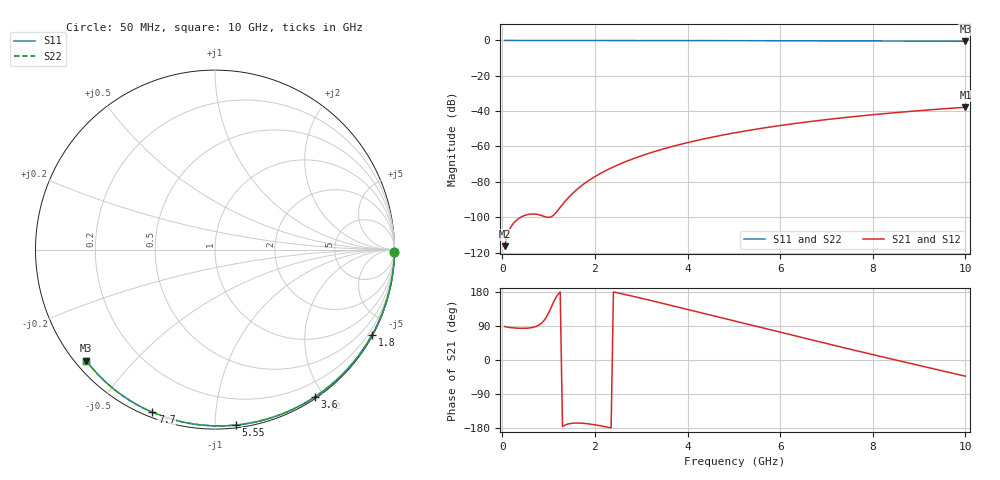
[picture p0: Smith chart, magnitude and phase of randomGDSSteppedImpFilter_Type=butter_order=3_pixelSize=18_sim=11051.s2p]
! freq	dB(S11)	phase(S11)	dB(S12)	phase(S12)
!  dB(S21)	phase(S21)	dB(S22)	phase(S22)
!S-par simulation data
#  GHz  S  DB  R 50
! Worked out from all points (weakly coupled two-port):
!   200 points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, 50 MHz to 10 GHz, reference 50 ohm
!   highest |S21| = -37.81 dB at 10 GHz (marker M1); lowest = -116.4 dB at 50 MHz (marker M2)
!   lowest |S11| = -0.5 dB at 10 GHz (marker M3), VSWR 37.01, Z = 1.54 - j18.6 ohm
!   |S11| at or under -10 dB: nowhere
!   |S22| runs from -0.5 to 0.0 dB; largest |S21 - S12| = 0
!   S11 on the Smith chart (normalised r, x): 50 MHz: open; 1.8 GHz: 0.03, -3.93; 3.6 GHz: 0.02, -1.89; 5.55 GHz: 0.02, -1.13; 7.7 GHz: 0.02, -0.69; 10 GHz: 0.03, -0.37
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0.05  -0.00 -0.8  -116.41 88.3  -116.41 88.3  -0.00 -0.8
0.45  -0.01 -7.2  -99.35 83.6  -99.35 83.6  -0.01 -7.2
0.9  -0.02 -14.4  -99.53 104.0  -99.53 104.0  -0.02 -14.4
1.75  -0.04 -27.8  -81.40 -167.1  -81.40 -167.1  -0.04 -27.8
1.8  -0.04 -28.6  -80.45 -167.7  -80.45 -167.7  -0.04 -28.6
1.85  -0.04 -29.3  -79.55 -168.4  -79.55 -168.4  -0.04 -29.3
2.05  -0.04 -32.4  -76.27 -172.1  -76.27 -172.1  -0.04 -32.4
2.25  -0.05 -35.5  -73.44 -176.7  -73.44 -176.7  -0.05 -35.5
2.55  -0.05 -40.1  -69.81 175.6  -69.81 175.6  -0.05 -40.1
2.95  -0.06 -46.1  -65.76 164.5  -65.76 164.5  -0.06 -46.1
3.4  -0.07 -52.8  -61.97 151.3  -61.97 151.3  -0.07 -52.8
3.6  -0.07 -55.8  -60.49 145.4  -60.49 145.4  -0.07 -55.8
3.9  -0.08 -60.1  -58.44 136.4  -58.44 136.4  -0.08 -60.1
4.3  -0.09 -65.9  -56.01 124.3  -56.01 124.3  -0.09 -65.9
5.05  -0.12 -76.4  -52.12 101.7  -52.12 101.7  -0.12 -76.4
5.55  -0.14 -83.2  -49.92 86.6  -49.92 86.6  -0.14 -83.2
6.1  -0.16 -90.5  -47.77 70.1  -47.77 70.1  -0.16 -90.5
6.7  -0.19 -98.3  -45.71 52.3  -45.71 52.3  -0.19 -98.3
7.7  -0.25 -111.0  -42.79 22.9  -42.79 22.9  -0.25 -111.0
8.35  -0.30 -119.1  -41.17 4.2  -41.17 4.2  -0.30 -119.1
9.2  -0.38 -129.5  -39.31 -20.1  -39.31 -20.1  -0.38 -129.5
10  -0.47 -139.2  -37.81 -42.7  -37.81 -42.7  -0.47 -139.2
